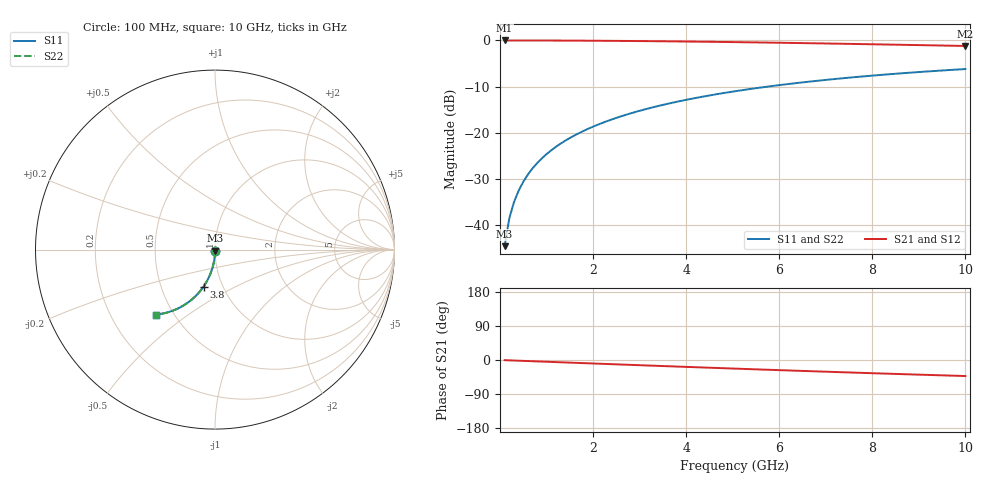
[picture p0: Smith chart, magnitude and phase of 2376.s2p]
# Hz S RI R 50.00
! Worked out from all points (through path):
!   100 points, 100 MHz to 10 GHz, reference 50 ohm
!   highest |S21| = 0.00 dB at 100 MHz (marker M1); lowest = -1.2 dB at 10 GHz (marker M2)
!   group delay of S21, straight-line fit = 11.8 ps
!   lowest |S11| = -44.7 dB at 100 MHz (marker M3), VSWR 1.01, Z = 50 - j0.585 ohm
!   |S11| at or under -10 dB: start of sweep to 5.768 GHz
!   |S22| runs from -44.7 to -6.2 dB; largest |S21 - S12| = 0
!   S11 on the Smith chart (normalised r, x): 100 MHz: 1.00, -0.01; 3.8 GHz: 0.81, -0.35; 10 GHz: 0.40, -0.38
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1e8  0.000312 -0.00584  0.9996 -0.00803  0.9996 -0.00803  0.000312 -0.00584
2e8  0.000167 -0.0117  0.9994 -0.0161  0.9994 -0.0161  0.000167 -0.0117
3e8  -7.24e-05 -0.0175  0.9992 -0.0241  0.9992 -0.0241  -7.24e-05 -0.0175
4e8  -0.000406 -0.0234  0.9988 -0.0321  0.9988 -0.0321  -0.000406 -0.0234
5e8  -0.000833 -0.0292  0.9984 -0.0401  0.9984 -0.0401  -0.000833 -0.0292
6e8  -0.00135 -0.035  0.9978 -0.0481  0.9978 -0.0481  -0.00135 -0.035
7e8  -0.00197 -0.0408  0.9972 -0.0561  0.9972 -0.0561  -0.00197 -0.0408
8e8  -0.00268 -0.0466  0.9964 -0.0641  0.9964 -0.0641  -0.00268 -0.0466
9e8  -0.00348 -0.0524  0.9956 -0.0721  0.9956 -0.0721  -0.00348 -0.0524
1.1e9  -0.00535 -0.0639  0.9936 -0.088  0.9936 -0.088  -0.00535 -0.0639
1.4e9  -0.00885 -0.081  0.9899 -0.1117  0.9899 -0.1117  -0.00885 -0.081
1.8e9  -0.0148 -0.1035  0.9837 -0.1429  0.9837 -0.1429  -0.0148 -0.1035
2.1e9  -0.0201 -0.12  0.978 -0.166  0.978 -0.166  -0.0201 -0.12
2.5e9  -0.0284 -0.1415  0.9693 -0.1963  0.9693 -0.1963  -0.0284 -0.1415
2.9e9  -0.038 -0.1623  0.9591 -0.226  0.9591 -0.226  -0.038 -0.1623
3.4e9  -0.0518 -0.1873  0.9447 -0.262  0.9447 -0.262  -0.0518 -0.1873
3.8e9  -0.064 -0.2062  0.9317 -0.2898  0.9317 -0.2898  -0.064 -0.2062
4.4e9  -0.0843 -0.2329  0.9102 -0.3298  0.9102 -0.3298  -0.0843 -0.2329
5.1e9  -0.1104 -0.2611  0.8824 -0.3735  0.8824 -0.3735  -0.1104 -0.2611
6.7e9  -0.1778 -0.3125  0.8103 -0.461  0.8103 -0.461  -0.1778 -0.3125
8.4e9  -0.2556 -0.3471  0.7258 -0.5344  0.7258 -0.5344  -0.2556 -0.3471
1e10  -0.3293 -0.3618  0.6443 -0.5862  0.6443 -0.5862  -0.3293 -0.3618
